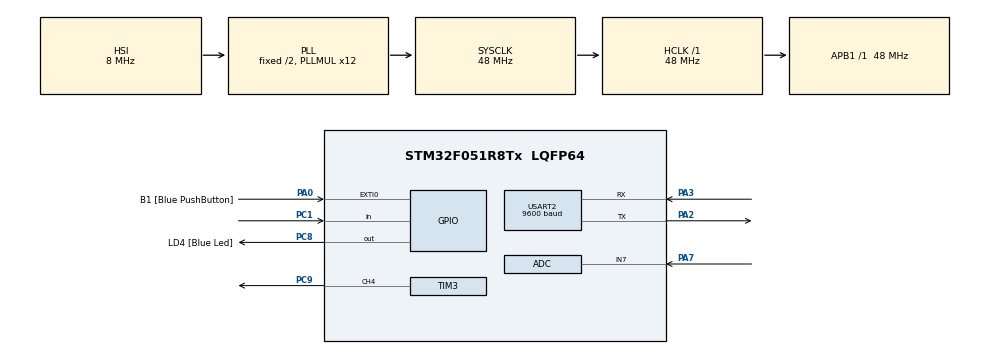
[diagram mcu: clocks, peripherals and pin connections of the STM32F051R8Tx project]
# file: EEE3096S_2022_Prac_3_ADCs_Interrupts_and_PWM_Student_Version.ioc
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Dma.ADC.1.Direction=DMA_PERIPH_TO_MEMORY
Dma.ADC.1.Instance=DMA1_Channel1
Dma.ADC.1.MemDataAlignment=DMA_MDATAALIGN_HALFWORD
Dma.ADC.1.MemInc=DMA_MINC_ENABLE
Dma.ADC.1.Mode=DMA_NORMAL
Dma.ADC.1.PeriphDataAlignment=DMA_PDATAALIGN_HALFWORD
Dma.ADC.1.PeriphInc=DMA_PINC_DISABLE
Dma.ADC.1.Priority=DMA_PRIORITY_LOW
Dma.Request0=USART2_TX
Dma.Request1=ADC
Dma.USART2_TX.0.Direction=DMA_MEMORY_TO_PERIPH
Dma.USART2_TX.0.Instance=DMA1_Channel4
Dma.USART2_TX.0.MemDataAlignment=DMA_MDATAALIGN_BYTE
Dma.USART2_TX.0.MemInc=DMA_MINC_ENABLE
Dma.USART2_TX.0.Mode=DMA_NORMAL
Dma.USART2_TX.0.PeriphDataAlignment=DMA_PDATAALIGN_BYTE
Dma.USART2_TX.0.PeriphInc=DMA_PINC_DISABLE
Dma.USART2_TX.0.Priority=DMA_PRIORITY_LOW
Mcu.Family=STM32F0
Mcu.Name=STM32F051R8Tx
Mcu.Package=LQFP64
NVIC.ADC1_COMP_IRQn=true\:0\:0\:false\:false\:true\:true\:true\:true
NVIC.DMA1_Channel1_IRQn=true\:0\:0\:false\:false\:true\:false\:true\:true
NVIC.DMA1_Channel4_5_IRQn=true\:0\:0\:false\:false\:true\:false\:true\:true
NVIC.EXTI0_1_IRQn=true\:0\:0\:false\:false\:true\:true\:true\:true
NVIC.USART2_IRQn=true\:0\:0\:false\:false\:true\:true\:true\:true
PA0.GPIO_Label=B1 [Blue PushButton]
PA0.GPIO_ModeDefaultEXTI=GPIO_MODE_IT_FALLING
PA0.Signal=GPXTI0
PA13.GPIO_Label=SWDIO
PA13.Mode=Serial_Wire
PA13.Signal=SYS_SWDIO
PA14.GPIO_Label=SWCLK
PA14.Mode=Serial_Wire
PA14.Signal=SYS_SWCLK
PA2.Mode=Asynchronous
PA2.Signal=USART2_TX
PA3.Mode=Asynchronous
PA3.Signal=USART2_RX
PA7.Mode=IN7
PA7.Signal=ADC_IN7
PB6.Signal=I2C1_SCL
PB7.Signal=I2C1_SDA
PC1.GPIO_PuPd=GPIO_PULLDOWN
PC1.Signal=GPIO_Input
PC8.GPIO_Label=LD4 [Blue Led]
PC8.Signal=GPIO_Output
PC9.Signal=S_TIM3_CH4
PF0-OSC_IN.Mode=HSE-External-Oscillator
PF0-OSC_IN.Signal=RCC_OSC_IN
PF1-OSC_OUT.Mode=HSE-External-Oscillator
PF1-OSC_OUT.Signal=RCC_OSC_OUT
ProjectManager.HeapSize=0x200
ProjectManager.StackSize=0x400
ProjectManager.TargetToolchain=STM32CubeIDE
RCC.AHBFreq_Value=48000000
RCC.APB1Freq_Value=48000000
RCC.APB1TimFreq_Value=48000000
RCC.HCLKFreq_Value=48000000
RCC.PLLMUL=RCC_PLL_MUL12
RCC.SYSCLKFreq_VALUE=48000000
RCC.SYSCLKSource=RCC_SYSCLKSOURCE_PLLCLK
SH.S_TIM3_CH4.0=TIM3_CH4,PWM Generation4 CH4
TIM3.AutoReloadPreload=TIM_AUTORELOAD_PRELOAD_ENABLE
TIM3.Channel-PWM\ Generation4\ CH4=TIM_CHANNEL_4
TIM3.Period=47999
USART2.BaudRate=9600
USART2.VirtualMode-Asynchronous=VM_ASYNC
VP_TIM3_VS_ClockSourceINT.Mode=Internal
board=STM32F0DISCOVERY

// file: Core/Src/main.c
/* USER CODE BEGIN Header */
/**
*******************************************************
Info:		STM32 ADCs, GPIO Interrupts and PWM with HAL
Author:		Amaan Vally
*******************************************************
In this practical you will learn to use the ADC on the STM32 using the HAL.
Here, we will be measuring the voltage on a potentiometer and using its value
to adjust the brightness of the on board LEDs. We set up an interrupt to switch the
display between the blue and green LEDs.

Code is also provided to send data from the STM32 to other devices using UART protocol
by using HAL. You will need Putty or a Python script to read from the serial port on your PC.

UART Connections are as follows: 5V->5V GND->GND RXD->PA2 TXD->PA3(unused).
Open device manager and go to Ports. Plug in the USB connector with the STM powered on.
Check the port number (COMx). Open up Putty and create a new Serial session on that COMx
with baud rate of 9600.
  ******************************************************************************
  */
/* USER CODE END Header */
#include "main.h"

 ADC_HandleTypeDef hadc;
DMA_HandleTypeDef hdma_adc;

TIM_HandleTypeDef htim3;

UART_HandleTypeDef huart2;
DMA_HandleTypeDef hdma_usart2_tx;

/* USER CODE BEGIN PV */
char buffer[25];

//TO DO:
//TASK 1
//Create global variables for debouncing and delay interval
int delay = 500;

int previousMillis = 0;
int currentMillis = 0;
uint32_t numMessages = 0;
uint32_t number;
uint8_t binaryVal;
uint32_t adcValRec;
uint32_t countRecieved = 0;
uint32_t countStored = 1;
uint32_t oneCounter;

float voltage;
char buf[100];
/* USER CODE END PV */

void SystemClock_Config(void);
static void MX_GPIO_Init(void);
static void MX_DMA_Init(void);
static void MX_USART2_UART_Init(void);
static void MX_ADC_Init(void);
static void MX_TIM3_Init(void);
/* USER CODE BEGIN PFP */
//void EXTI0_1_IRQHandler(void);
uint32_t pollADC(void);
uint32_t ADCtoCRR(uint32_t adc_val);

/* USER CODE END PFP */

int main(void)
{

  /* MCU Configuration--------------------------------------------------------*/

  /* Reset of all peripherals, Initializes the Flash interface and the Systick. */
  HAL_Init();

  /* Configure the system clock */
  SystemClock_Config();

  /* Initialize all configured peripherals */
  MX_GPIO_Init();
  MX_DMA_Init();
  MX_USART2_UART_Init();
  MX_ADC_Init();
  MX_TIM3_Init();
  /* USER CODE BEGIN 2 */

  //TO DO:
  //Create variables needed in while loop

  //HAL_TIM_PWM_Start(&htim3, TIM_CHANNEL_4); //Start the PWM on TIM3 Channel 4 (Green LED)
  /* USER CODE END 2 */

  /* Infinite loop */
  /* USER CODE BEGIN WHILE */

/*
  number = 153;

  	  for(int i =0; i<12; i++){
  		  if(number & 1){
  			  binaryVal = 1;
  			  HAL_GPIO_WritePin(GPIOC, GPIO_PIN_8, 1);
  		  }
  		  else{
  			  binaryVal = 0;
  			  HAL_GPIO_WritePin(GPIOC, GPIO_PIN_8, 0);
  		  }
  		sprintf(buffer, "BinaryVal:%d\r\n\r\n", binaryVal);
  		HAL_UART_Transmit(&huart2, buffer, sizeof(buffer), 1000); //Transmits the ADC Value over UART
  		number>>= 1;
  		HAL_Delay(1000);
  	  }	*/

  while (1)
  {
	  adcValRec = 0;
	  oneCounter = 0;
	  countRecieved = 0;
	  if(HAL_GPIO_ReadPin(GPIOC, GPIO_PIN_1)){

		  HAL_Delay(150); // 0.15s delay

		  for(int i=0; i<4; i++){ //Recieve all four count bits

			  if(HAL_GPIO_ReadPin(GPIOC, GPIO_PIN_1)){
		  			 sprintf(buffer, "countBit:%d\r\n\r\n", 1);
		  			 HAL_UART_Transmit(&huart2, buffer, sizeof(buffer), 1000);
		  			 countRecieved += pow(2, i);
		  			 oneCounter++; //increments parity counter by 1
		  			  }
			  if(HAL_GPIO_ReadPin(GPIOC, GPIO_PIN_1)==0){
		  			 sprintf(buffer, "countBit:%d\r\n\r\n", 0);
		  			 HAL_UART_Transmit(&huart2, buffer, sizeof(buffer), 1000);
		  			  }

			  HAL_Delay(100); //0.1s delay

		  	  }

		  sprintf(buffer, "countRec:%d\r\n\r\n", countRecieved);
		  HAL_UART_Transmit(&huart2, buffer, sizeof(buffer), 1000);

		  for(int i=0; i<12; i++){ //recieve all 12 adc value bits

			  if(HAL_GPIO_ReadPin(GPIOC, GPIO_PIN_1)){
			  			  sprintf(buffer, "adcBit:%d\r\n\r\n", 1);
			  			  HAL_UART_Transmit(&huart2, buffer, sizeof(buffer), 1000);
			  			  adcValRec += pow(2, i); //convert from binary back to decimal
			  			  oneCounter++; //increments parity counter by 1
			  		      }
			  if(HAL_GPIO_ReadPin(GPIOC, GPIO_PIN_1)==0){
			  			  sprintf(buffer, "adcBit:%d\r\n\r\n", 0);
			  			  HAL_UART_Transmit(&huart2, buffer, sizeof(buffer), 1000);
			  			  }

			  HAL_Delay(100); //0.1s delay

			}
		  	sprintf(buffer, "adcVal:%d\r\n\r\n", adcValRec); // transmit the adc value recieved over UART
		  	HAL_UART_Transmit(&huart2, buffer, sizeof(buffer), 1000);

		  	voltage = adcValRec*3/4095.0f;//convert adc value to a voltage
		  	gcvt(voltage, 3, buf); //convert float to string to transmit over UART

		  	sprintf(buffer, "Voltage:%sV\r\n\r\n", buf); // transmit the adc value recieved over UART
		  	HAL_UART_Transmit(&huart2, buffer, sizeof(buffer), 1000);
		  	for(int i=0; i<1; i++){ //recieve parity bit

		  		if(HAL_GPIO_ReadPin(GPIOC, GPIO_PIN_1)){
		  				  sprintf(buffer, "Parity:%d\r\n\r\n", 1);
		  				  HAL_UART_Transmit(&huart2, buffer, sizeof(buffer), 1000);
		  				  oneCounter++; //increments parity counter by 1
		  				  }
		  		if(HAL_GPIO_ReadPin(GPIOC, GPIO_PIN_1)==0){
		  				  sprintf(buffer, "Parity:%d\r\n\r\n", 0);
		  				  HAL_UART_Transmit(&huart2, buffer, sizeof(buffer), 1000);
		  				  }

		  		HAL_Delay(100); //0.1s delay

		  		}
		  	sprintf(buffer, "ParityCounter:%d\r\n\r\n", oneCounter);
		  	HAL_UART_Transmit(&huart2, buffer, sizeof(buffer), 1000);

		  	if(oneCounter%2 != 0){ //triggers error if the message recieved had a odd number of 1's
		  		HAL_GPIO_WritePin(GPIOC, GPIO_PIN_8, 1);
		  		HAL_Delay(1000);
		  		HAL_GPIO_WritePin(GPIOC, GPIO_PIN_8, 0);

		  	}

		  	sprintf(buffer, "storedCount:%d\r\n\r\n", countStored); //transmit current stored count value
		  	HAL_UART_Transmit(&huart2, buffer, sizeof(buffer), 1000);
		  	sprintf(buffer, "recievedCount:%d\r\n\r\n", countRecieved);//transmit the count value recieved in the message
		  	HAL_UART_Transmit(&huart2, buffer, sizeof(buffer), 1000);

		  	if(countStored != countRecieved){ //if statement to check that countStored equals countRecieved
		  		HAL_GPIO_WritePin(GPIOC, GPIO_PIN_8, 1);
		  		HAL_Delay(2000);
		  		HAL_GPIO_WritePin(GPIOC, GPIO_PIN_8, 0);
		  		countStored = countRecieved; //sets count stored to equal count recieved if they did not match

		  	}
		  	countStored++;//increment stored count value to match the number of messages recieved

	  }

    /* USER CODE END WHILE */

  }
}

void SystemClock_Config(void)
{
  RCC_OscInitTypeDef RCC_OscInitStruct = {0};
  RCC_ClkInitTypeDef RCC_ClkInitStruct = {0};

  /** Initializes the RCC Oscillators according to the specified parameters
  * in the RCC_OscInitTypeDef structure.
  */
  RCC_OscInitStruct.OscillatorType = RCC_OSCILLATORTYPE_HSI|RCC_OSCILLATORTYPE_HSI14;
  RCC_OscInitStruct.HSIState = RCC_HSI_ON;
  RCC_OscInitStruct.HSI14State = RCC_HSI14_ON;
  RCC_OscInitStruct.HSICalibrationValue = RCC_HSICALIBRATION_DEFAULT;
  RCC_OscInitStruct.HSI14CalibrationValue = 16;
  RCC_OscInitStruct.PLL.PLLState = RCC_PLL_ON;
  RCC_OscInitStruct.PLL.PLLSource = RCC_PLLSOURCE_HSI;
  RCC_OscInitStruct.PLL.PLLMUL = RCC_PLL_MUL12;
  RCC_OscInitStruct.PLL.PREDIV = RCC_PREDIV_DIV1;
  if (HAL_RCC_OscConfig(&RCC_OscInitStruct) != HAL_OK)
  {
    Error_Handler();
  }

  /** Initializes the CPU, AHB and APB buses clocks
  */
  RCC_ClkInitStruct.ClockType = RCC_CLOCKTYPE_HCLK|RCC_CLOCKTYPE_SYSCLK
                              |RCC_CLOCKTYPE_PCLK1;
  RCC_ClkInitStruct.SYSCLKSource = RCC_SYSCLKSOURCE_PLLCLK;
  RCC_ClkInitStruct.AHBCLKDivider = RCC_SYSCLK_DIV1;
  RCC_ClkInitStruct.APB1CLKDivider = RCC_HCLK_DIV1;

  if (HAL_RCC_ClockConfig(&RCC_ClkInitStruct, FLASH_LATENCY_1) != HAL_OK)
  {
    Error_Handler();
  }
}

static void MX_ADC_Init(void)
{

  ADC_ChannelConfTypeDef sConfig = {0};

  /** Configure the global features of the ADC (Clock, Resolution, Data Alignment and number of conversion)
  */
  hadc.Instance = ADC1;
  hadc.Init.ClockPrescaler = ADC_CLOCK_ASYNC_DIV1;
  hadc.Init.Resolution = ADC_RESOLUTION_12B;
  hadc.Init.DataAlign = ADC_DATAALIGN_RIGHT;
  hadc.Init.ScanConvMode = ADC_SCAN_DIRECTION_FORWARD;
  hadc.Init.EOCSelection = ADC_EOC_SINGLE_CONV;
  hadc.Init.LowPowerAutoWait = DISABLE;
  hadc.Init.LowPowerAutoPowerOff = DISABLE;
  hadc.Init.ContinuousConvMode = DISABLE;
  hadc.Init.DiscontinuousConvMode = DISABLE;
  hadc.Init.ExternalTrigConv = ADC_SOFTWARE_START;
  hadc.Init.ExternalTrigConvEdge = ADC_EXTERNALTRIGCONVEDGE_NONE;
  hadc.Init.DMAContinuousRequests = DISABLE;
  hadc.Init.Overrun = ADC_OVR_DATA_PRESERVED;
  if (HAL_ADC_Init(&hadc) != HAL_OK)
  {
    Error_Handler();
  }

  /** Configure for the selected ADC regular channel to be converted.
  */
  sConfig.Channel = ADC_CHANNEL_7;
  sConfig.Rank = ADC_RANK_CHANNEL_NUMBER;
  sConfig.SamplingTime = ADC_SAMPLETIME_1CYCLE_5;
  if (HAL_ADC_ConfigChannel(&hadc, &sConfig) != HAL_OK)
  {
    Error_Handler();
  }

}

static void MX_TIM3_Init(void)
{

  TIM_ClockConfigTypeDef sClockSourceConfig = {0};
  TIM_MasterConfigTypeDef sMasterConfig = {0};
  TIM_OC_InitTypeDef sConfigOC = {0};

  htim3.Instance = TIM3;
  htim3.Init.Prescaler = 0;
  htim3.Init.CounterMode = TIM_COUNTERMODE_UP;
  htim3.Init.Period = 47999;
  htim3.Init.ClockDivision = TIM_CLOCKDIVISION_DIV1;
  htim3.Init.AutoReloadPreload = TIM_AUTORELOAD_PRELOAD_ENABLE;
  if (HAL_TIM_Base_Init(&htim3) != HAL_OK)
  {
    Error_Handler();
  }
  sClockSourceConfig.ClockSource = TIM_CLOCKSOURCE_INTERNAL;
  if (HAL_TIM_ConfigClockSource(&htim3, &sClockSourceConfig) != HAL_OK)
  {
    Error_Handler();
  }
  if (HAL_TIM_PWM_Init(&htim3) != HAL_OK)
  {
    Error_Handler();
  }
  sMasterConfig.MasterOutputTrigger = TIM_TRGO_RESET;
  sMasterConfig.MasterSlaveMode = TIM_MASTERSLAVEMODE_DISABLE;
  if (HAL_TIMEx_MasterConfigSynchronization(&htim3, &sMasterConfig) != HAL_OK)
  {
    Error_Handler();
  }
  sConfigOC.OCMode = TIM_OCMODE_PWM1;
  sConfigOC.Pulse = 0;
  sConfigOC.OCPolarity = TIM_OCPOLARITY_HIGH;
  sConfigOC.OCFastMode = TIM_OCFAST_DISABLE;
  if (HAL_TIM_PWM_ConfigChannel(&htim3, &sConfigOC, TIM_CHANNEL_4) != HAL_OK)
  {
    Error_Handler();
  }
  HAL_TIM_MspPostInit(&htim3);

}

static void MX_USART2_UART_Init(void)
{

  huart2.Instance = USART2;
  huart2.Init.BaudRate = 9600;
  huart2.Init.WordLength = UART_WORDLENGTH_8B;
  huart2.Init.StopBits = UART_STOPBITS_1;
  huart2.Init.Parity = UART_PARITY_NONE;
  huart2.Init.Mode = UART_MODE_TX_RX;
  huart2.Init.HwFlowCtl = UART_HWCONTROL_NONE;
  huart2.Init.OverSampling = UART_OVERSAMPLING_16;
  huart2.Init.OneBitSampling = UART_ONE_BIT_SAMPLE_DISABLE;
  huart2.AdvancedInit.AdvFeatureInit = UART_ADVFEATURE_NO_INIT;
  if (HAL_UART_Init(&huart2) != HAL_OK)
  {
    Error_Handler();
  }

}

static void MX_DMA_Init(void)
{

  /* DMA controller clock enable */
  __HAL_RCC_DMA1_CLK_ENABLE();

  /* DMA interrupt init */
  /* DMA1_Channel1_IRQn interrupt configuration */
  HAL_NVIC_SetPriority(DMA1_Channel1_IRQn, 0, 0);
  HAL_NVIC_EnableIRQ(DMA1_Channel1_IRQn);
  /* DMA1_Channel4_5_IRQn interrupt configuration */
  HAL_NVIC_SetPriority(DMA1_Channel4_5_IRQn, 0, 0);
  HAL_NVIC_EnableIRQ(DMA1_Channel4_5_IRQn);

}

static void MX_GPIO_Init(void)
{
  GPIO_InitTypeDef GPIO_InitStruct = {0};

  /* GPIO Ports Clock Enable */
  __HAL_RCC_GPIOF_CLK_ENABLE();
  __HAL_RCC_GPIOC_CLK_ENABLE();
  __HAL_RCC_GPIOA_CLK_ENABLE();
  __HAL_RCC_GPIOB_CLK_ENABLE();

  /*Configure GPIO pin Output Level */
  HAL_GPIO_WritePin(LD4_GPIO_Port, LD4_Pin, GPIO_PIN_RESET);

  /*Configure GPIO pin : PC1 */
  GPIO_InitStruct.Pin = GPIO_PIN_1;
  GPIO_InitStruct.Mode = GPIO_MODE_INPUT;
  GPIO_InitStruct.Pull = GPIO_PULLDOWN;
  HAL_GPIO_Init(GPIOC, &GPIO_InitStruct);

  /*Configure GPIO pin : B1_Pin */
  GPIO_InitStruct.Pin = B1_Pin;
  GPIO_InitStruct.Mode = GPIO_MODE_IT_FALLING;
  GPIO_InitStruct.Pull = GPIO_NOPULL;
  HAL_GPIO_Init(B1_GPIO_Port, &GPIO_InitStruct);

  /*Configure GPIO pin : LD4_Pin */
  GPIO_InitStruct.Pin = LD4_Pin;
  GPIO_InitStruct.Mode = GPIO_MODE_OUTPUT_PP;
  GPIO_InitStruct.Pull = GPIO_NOPULL;
  GPIO_InitStruct.Speed = GPIO_SPEED_FREQ_LOW;
  HAL_GPIO_Init(LD4_GPIO_Port, &GPIO_InitStruct);

  /*Configure GPIO pins : PB6 PB7 */
  GPIO_InitStruct.Pin = GPIO_PIN_6|GPIO_PIN_7;
  GPIO_InitStruct.Mode = GPIO_MODE_AF_OD;
  GPIO_InitStruct.Pull = GPIO_NOPULL;
  GPIO_InitStruct.Speed = GPIO_SPEED_FREQ_HIGH;
  GPIO_InitStruct.Alternate = GPIO_AF1_I2C1;
  HAL_GPIO_Init(GPIOB, &GPIO_InitStruct);

  /* EXTI interrupt init*/
  HAL_NVIC_SetPriority(EXTI0_1_IRQn, 0, 0);
  HAL_NVIC_EnableIRQ(EXTI0_1_IRQn);

}

/* USER CODE BEGIN 4 */
void EXTI0_1_IRQHandler(void)
{
	//TO DO:
	//TASK 1
	//Switch delay frequency

	int currentMillis = HAL_GetTick();
	if(currentMillis - previousMillis > 200){ //Used to add 10ms delay for button debouncing
		int ADCVal = pollADC(); // calls pollADC function and assigns adc value to variable
		sprintf(buffer, "ADCVal:%d\r\n\r\n", ADCVal);
		HAL_UART_Transmit(&huart2, buffer, sizeof(buffer), 1000); //Transmits the ADC Value over UART

		number = ADCVal;

		  	  for(int j =0; j<12; j++){
		  		  if(number & 1){
		  			  binaryVal = 1;
		  			  HAL_GPIO_WritePin(GPIOC, GPIO_PIN_8, 1);
		  		  }
		  		  else{
		  			  binaryVal = 0;
		  			  HAL_GPIO_WritePin(GPIOC, GPIO_PIN_8, 0);
		  		  }
		  		sprintf(buffer, "BinaryVal:%d\r\n\r\n", binaryVal);
		  		HAL_UART_Transmit(&huart2, buffer, sizeof(buffer), 1000); //Transmits the ADC Value over UART
		  		number>>= 1;
		  		//HAL_Delay(1000);
		  	  }
		previousMillis = currentMillis;

		numMessages++;//Increment numMessages to track how many messages have been transmitted
	}

	HAL_GPIO_EXTI_IRQHandler(B1_Pin); // Clear interrupt flags
}

uint32_t pollADC(void){
	//TO DO:
	//TASK 2
	// Complete the function body
	HAL_ADC_Start(&hadc);
	HAL_ADC_PollForConversion(&hadc, 1);
	int val = HAL_ADC_GetValue(&hadc);
	HAL_ADC_Stop(&hadc);
	return val;
}

uint32_t ADCtoCRR(uint32_t adc_val){
	//TO DO:
	//TASK 2
	// Complete the function body
	int val = adc_val*47999/4096;

	//HINT: The CRR value for 100% DC is 47999 (DC = CRR/ARR = CRR/47999)
	//HINT: The ADC range is approx 0 - 4095
	//HINT: Scale number from 0-4096 to 0 - 47999
	return val;
}

/* USER CODE END 4 */

void Error_Handler(void)
{
  __disable_irq();
  while (1)
  {
  }
}
